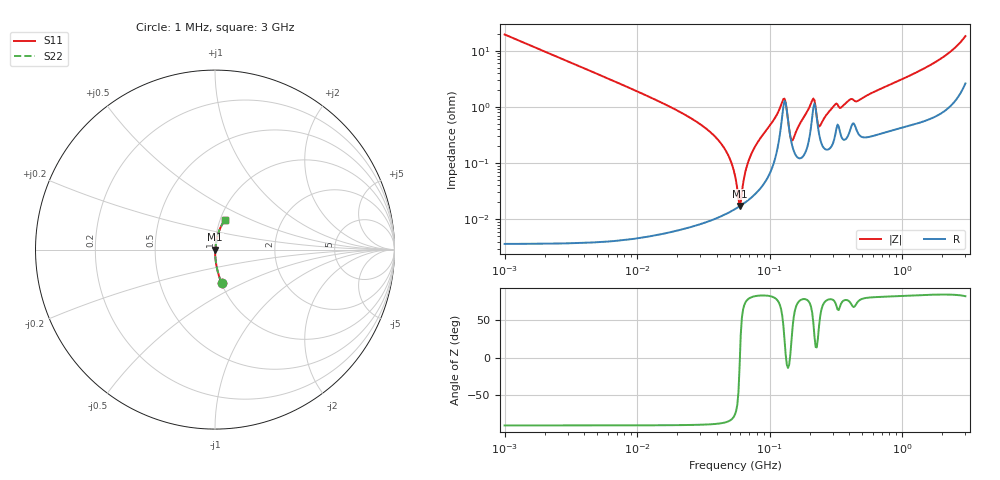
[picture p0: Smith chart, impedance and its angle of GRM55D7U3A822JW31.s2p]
!Murata Part Number: GRM55D7U3A822JW31
!These Parameters are Measured in Series Mode Connection
!Data Generated on Mar 30, 2021
!  o--ll--o
!Port1  Port2
!  o------o
!Operation Temp=25[degC], DC Bias Voltage=0[V]
!Freq. Start=1000[kHz] Stop=3[GHz] 401[Steps]
# Hz S RI R 50
!Freq.(Hz) S11(Real) S11(Imag) S21(Real) S21(Imag) S12(Real) S12(Imag) S22(Real) S22(Imag)
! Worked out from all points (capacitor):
!   401 points, 1 MHz to 3 GHz, reference 50 ohm
!   read as one part in series: C = 8.19 nF near 1.041 MHz
!   lowest |Z| = 17.3 mohm at 59.34 MHz (marker M1)
!   series resonance near 59.62 MHz, so ESL is about 870 pH
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1000000  0.0364 -0.1873  0.9636 0.1873  0.9636 0.1873  0.0364 -0.1873
3823119  0.0026 -0.0505  0.9974 0.0505  0.9974 0.0505  0.0026 -0.0505
1.461624e7  0.00021 -0.0125  0.9998 0.0125  0.9998 0.0125  0.00021 -0.0125
3.820236e7  0.00011 -0.00306  0.9999 0.00306  0.9999 0.00306  0.00011 -0.00306
4.761141e7  0.000129 -0.00153  0.9999 0.00153  0.9999 0.00153  0.000129 -0.00153
5.477226e7  0.000152 -0.000579  0.9998 0.000579  0.9998 0.000579  0.000152 -0.000579
5.933786e7  0.00017 -3.26e-05  0.9998 3.26e-05  0.9998 3.26e-05  0.00017 -3.26e-05
6.176144e7  0.000181 0.000245  0.9998 -0.000245  0.9998 -0.000245  0.000181 0.000245
6.690964e7  0.000208 0.000812  0.9998 -0.000812  0.9998 -0.000812  0.000208 0.000812
7.248696e7  0.000243 0.00141  0.9998 -0.00141  0.9998 -0.00141  0.000243 0.00141
1.244416e8  0.00695 0.0101  0.993 -0.0101  0.993 -0.0101  0.00695 0.0101
1.321429e8  0.0117 0.000846  0.9883 -0.000846  0.9883 -0.000846  0.0117 0.000846
1.431579e8  0.00298 0.000182  0.997 -0.000182  0.997 -0.000182  0.00298 0.000182
1.49005e8  0.00192 0.00166  0.9981 -0.00166  0.9981 -0.00166  0.00192 0.00166
2.094008e8  0.00661 0.0111  0.9934 -0.0111  0.9934 -0.0111  0.00661 0.0111
2.179536e8  0.0115 0.00606  0.9885 -0.00606  0.9885 -0.00606  0.0115 0.00606
2.408952e8  0.00264 0.00384  0.9974 -0.00384  0.9974 -0.00384  0.00264 0.00384
3.124888e8  0.00328 0.0105  0.9967 -0.0105  0.9967 -0.0105  0.00328 0.0105
4.66327e8  0.00349 0.0124  0.9965 -0.0124  0.9965 -0.0124  0.00349 0.0124
8.005644e8  0.00426 0.0242  0.9957 -0.0242  0.9957 -0.0242  0.00426 0.0242
1.855641e9  0.0113 0.065  0.9887 -0.065  0.9887 -0.065  0.0113 0.065
3e9  0.0545 0.1657  0.9455 -0.1657  0.9455 -0.1657  0.0545 0.1657
